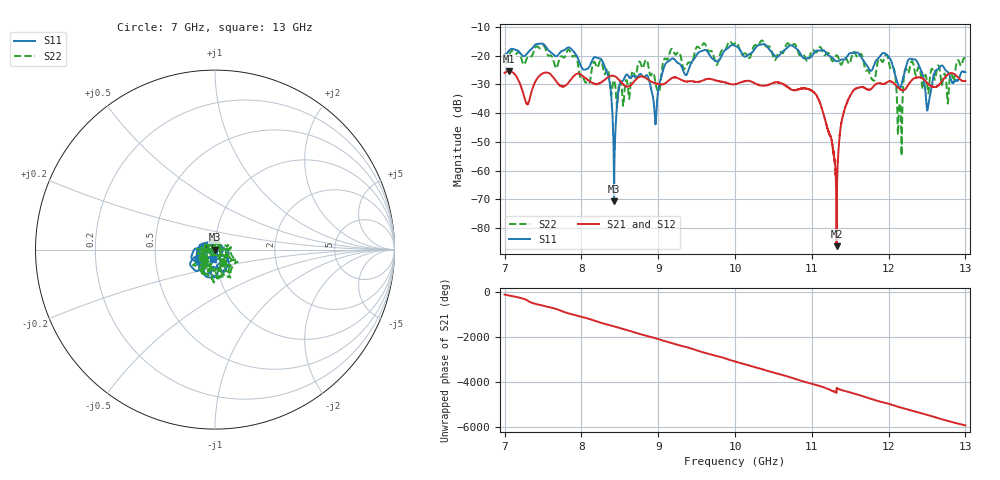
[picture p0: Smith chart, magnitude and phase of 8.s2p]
[Version] 2.0
! Rohde & Schwarz Vector Network Analyzer
! Rohde-Schwarz,ZNL20-2Port,1323001220200009,1.71.1.10-23.02.1.238
! Port Assignments:
! Nominal Port -> Actual Test Port
!  1 -> 1
!  2 -> 2
! Created: GMT+3 2024-09-24 15:10:28
# Hz S DB R 50
[Number of Ports] 2
[Two-Port Data Order] 21_12
! freq[Hz]  S11[mag dB]  S11[ang]  S21[mag dB]  S21[ang]  S12[mag dB]  S12[ang]  S22[mag dB]  S22[ang]
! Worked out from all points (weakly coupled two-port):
!   6001 points, 7 GHz to 13 GHz, reference 50 ohm
!   highest |S21| = -25.38 dB at 7.061 GHz (marker M1); lowest = -86.3 dB at 11.32 GHz (marker M2)
!   lowest |S11| = -70.7 dB at 8.425 GHz (marker M3), VSWR 1.00, Z = 50 + j0.00983 ohm
!   |S11| at or under -10 dB: start of sweep to end of sweep
!   |S22| runs from -54.8 to -14.7 dB; largest |S21 - S12| = 0.00094
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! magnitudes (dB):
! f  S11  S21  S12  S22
! 7 GHz  -19.5  -26.0  -26.0  -21.8
! 7.061 GHz  -18.1  -25.4  -25.4  -19.8
! 7.295 GHz  -19.1  -36.9  -37.1  -20.7
! 8 GHz  -23.9  -26.7  -26.7  -27.9
! 8.284 GHz  -22.5  -28.8  -28.8  -24.5
! 8.366 GHz  -28.9  -27.2  -27.2  -27.9
! 8.425 GHz  -70.7  -27.1  -27.0  -28.6
! 8.578 GHz  -26.8  -30.6  -30.6  -28.8
! 8.842 GHz  -26.9  -27.9  -27.9  -21.4
! 9 GHz  -32.0  -29.8  -29.8  -32.4
! 9.173 GHz  -21.1  -27.9  -27.9  -17.6
! 10 GHz  -16.6  -29.9  -29.9  -15.7
! 11 GHz  -20.1  -32.2  -32.2  -18.2
! 11.32 GHz  -21.9  -86.3  -85.0  -19.9
! 11.39 GHz  -21.3  -42.2  -42.3  -22.8
! 11.51 GHz  -19.1  -33.7  -33.7  -21.7
! 12 GHz  -20.3  -28.9  -29.0  -21.8
! 12.14 GHz  -31.3  -31.5  -31.6  -36.5
! 12.3 GHz  -21.1  -28.7  -28.7  -22.0
! 12.51 GHz  -38.2  -29.7  -29.6  -32.6
! 12.67 GHz  -23.9  -29.8  -29.6  -25.4
! 13 GHz  -25.7  -28.8  -28.8  -21.4
